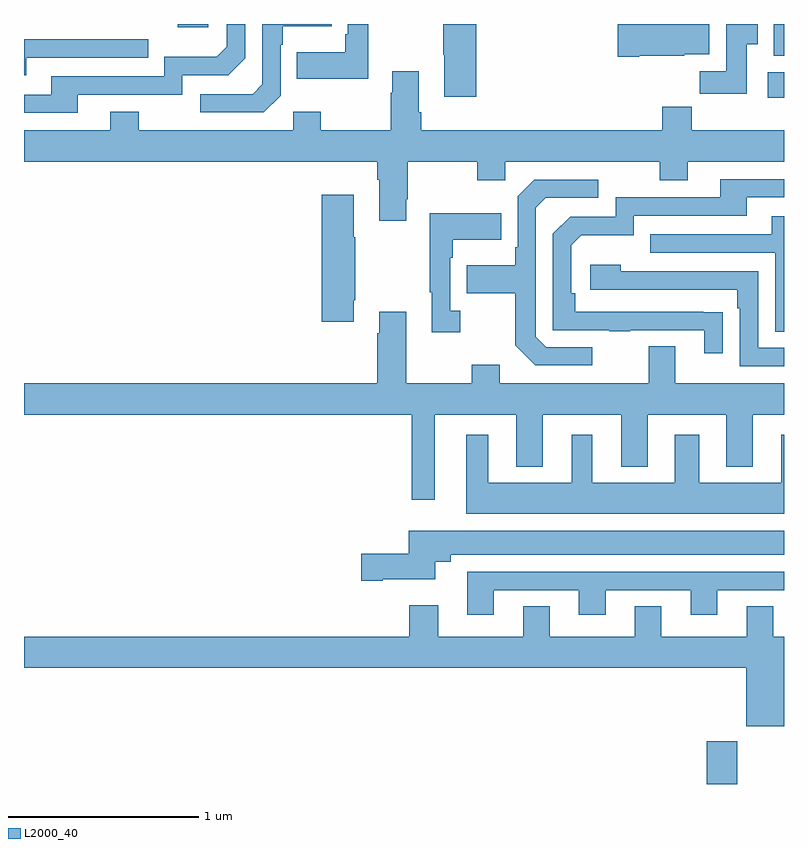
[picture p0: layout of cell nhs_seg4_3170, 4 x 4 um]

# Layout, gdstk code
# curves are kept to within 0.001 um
import gdstk
lib = gdstk.Library(unit=1e-6, precision=1e-09)
def R(c, l, rs):  # rectangles x0, y0, x1, y1
    for r in rs: c.add(gdstk.rectangle(r[:2], r[2:], *l))
def P(c, l, *ps):  # polygons
    for p in ps: c.add(gdstk.Polygon(p, *l))
L2000_40 = (2000, 40)

nhs_seg4_3170 = lib.new_cell('nhs_seg4_3170')
R(nhs_seg4_3170, L2000_40, [(282.593,770.9,282.753,771.124), (282.915,774.512,283,774.646), (282.947,774.734,283,774.9), (279.809,774.884,279.97,774.9)])
P(nhs_seg4_3170, L2000_40, [(282.805,774.793),(282.862,774.793),(282.862,774.9),(282.695,774.9),(282.695,774.652),(282.556,774.652),(282.556,774.534),(282.805,774.534)],
  [(282.238,774.734),(282.474,774.734),(282.474,774.74),(282.607,774.74),(282.607,774.9),(282.126,774.9),(282.126,774.727),(282.238,774.727)],
  [(279.283,774.528),(279.834,774.528),(279.834,774.63),(280.074,774.63),(280.164,774.72),(280.164,774.9),(280.068,774.9),(280.068,774.78),(280.015,774.727),(279.738,774.727),(279.738,774.624),(279.143,774.624),(279.143,774.528),(279,774.528),(279,774.432),(279.283,774.432)],
  [(280.813,774.9),(280.704,774.9),(280.704,774.847),(280.692,774.847),(280.692,774.751),(280.435,774.751),(280.435,774.611),(280.813,774.611)],
  [(281.381,774.9),(281.206,774.9),(281.206,774.739),(281.213,774.739),(281.213,774.516),(281.381,774.516)],
  [(280.35,774.522),(280.35,774.791),(280.363,774.791),(280.363,774.887),(280.619,774.887),(280.619,774.9),(280.254,774.9),(280.254,774.582),(280.203,774.531),(279.927,774.531),(279.927,774.435),(280.263,774.435)],
  [(279.013,774.723),(279.653,774.723),(279.653,774.819),(279,774.819),(279,774.629),(279.013,774.629)],
  [(281.011,773.977),(281.019,773.977),(281.019,774.176),(281.386,774.176),(281.386,774.077),(281.532,774.077),(281.532,774.176),(282.346,774.176),(282.346,774.077),(282.493,774.077),(282.493,774.176),(283,774.176),(283,774.34),(282.515,774.34),(282.515,774.464),(282.359,774.464),(282.359,774.34),(281.09,774.34),(281.09,774.436),(281.077,774.436),(281.077,774.652),(280.937,774.652),(280.937,774.539),(280.93,774.539),(280.93,774.34),(280.563,774.34),(280.563,774.439),(280.416,774.439),(280.416,774.34),(279.603,774.34),(279.603,774.439),(279.455,774.439),(279.455,774.34),(279,774.34),(279,774.176),(280.859,774.176),(280.859,774.08),(280.871,774.08),(280.871,773.865),(281.011,773.865)],
  [(282.677,773.384),(281.9,773.385),(281.9,773.482),(281.88,773.482),(281.88,773.736),(281.933,773.789),(282.21,773.789),(282.21,773.892),(282.805,773.892),(282.805,773.988),(283,773.988),(283,774.084),(282.665,774.084),(282.665,773.988),(282.114,773.988),(282.114,773.886),(281.874,773.886),(281.784,773.796),(281.784,773.289),(282.079,773.289),(282.079,773.284),(282.191,773.284),(282.191,773.289),(282.581,773.289),(282.581,773.166),(282.677,773.166)],
  [(281.992,773.199),(281.748,773.199),(281.694,773.253),(281.694,773.934),(281.745,773.985),(282.022,773.985),(282.022,774.081),(281.685,774.081),(281.598,773.994),(281.598,773.725),(281.586,773.725),(281.586,773.629),(281.329,773.629),(281.329,773.482),(281.586,773.482),(281.586,773.209),(281.691,773.103),(281.992,773.103)],
  [(280.735,773.446),(280.743,773.446),(280.743,773.777),(280.735,773.777),(280.735,774.001),(280.568,774.001),(280.568,773.334),(280.735,773.334)],
  [(281.296,773.39),(281.244,773.39),(281.244,773.669),(281.257,773.669),(281.257,773.765),(281.513,773.765),(281.513,773.905),(281.136,773.905),(281.136,773.489),(281.147,773.489),(281.147,773.277),(281.296,773.277)],
  [(283,773.887),(282.935,773.887),(282.935,773.793),(282.295,773.793),(282.295,773.697),(282.954,773.697),(282.954,773.281),(283,773.281)],
  [(283,773.196),(282.864,773.196),(282.864,773.598),(282.14,773.598),(282.14,773.632),(281.979,773.632),(281.979,773.502),(282.755,773.502),(282.755,773.405),(282.768,773.405),(282.768,773.1),(283,773.1)],
  [(281.161,772.844),(281.591,772.844),(281.591,772.571),(281.731,772.571),(281.731,772.844),(282.143,772.844),(282.143,772.571),(282.283,772.571),(282.283,772.844),(282.695,772.844),(282.695,772.571),(282.835,772.571),(282.835,772.844),(283,772.844),(283,773.008),(282.427,773.008),(282.427,773.203),(282.287,773.203),(282.287,773.008),(281.503,773.008),(281.503,773.107),(281.356,773.107),(281.356,773.008),(281.011,773.008),(281.011,773.386),(280.871,773.386),(280.871,773.273),(280.859,773.273),(280.859,773.008),(279,773.008),(279,772.844),(281.04,772.844),(281.04,772.395),(281.161,772.395)],
  [(283,772.738),(282.986,772.738),(282.986,772.486),(282.553,772.486),(282.553,772.738),(282.425,772.738),(282.425,772.486),(281.992,772.486),(281.992,772.738),(281.882,772.738),(281.882,772.486),(281.443,772.486),(281.443,772.738),(281.327,772.738),(281.327,772.322),(283,772.322)],
  [(280.888,771.977),(281.164,771.977),(281.164,772.07),(281.245,772.07),(281.245,772.106),(283,772.106),(283,772.234),(281.024,772.234),(281.024,772.112),(280.776,772.112),(280.776,771.97),(280.888,771.97)],
  [(281.473,771.921),(281.921,771.921),(281.921,771.792),(282.061,771.792),(282.061,771.921),(282.509,771.921),(282.509,771.792),(282.649,771.792),(282.649,771.921),(283,771.921),(283,772.017),(281.333,772.017),(281.333,771.792),(281.473,771.792)],
  [(283,771.676),(282.943,771.676),(282.943,771.836),(282.803,771.836),(282.803,771.676),(282.355,771.676),(282.355,771.836),(282.215,771.836),(282.215,771.676),(281.767,771.676),(281.767,771.836),(281.627,771.836),(281.627,771.676),(281.179,771.676),(281.179,771.841),(281.027,771.841),(281.027,771.676),(279,771.676),(279,771.512),(282.8,771.512),(282.8,771.203),(283,771.203)])

lib.write_gds('nhs_seg4_3170.gds')
